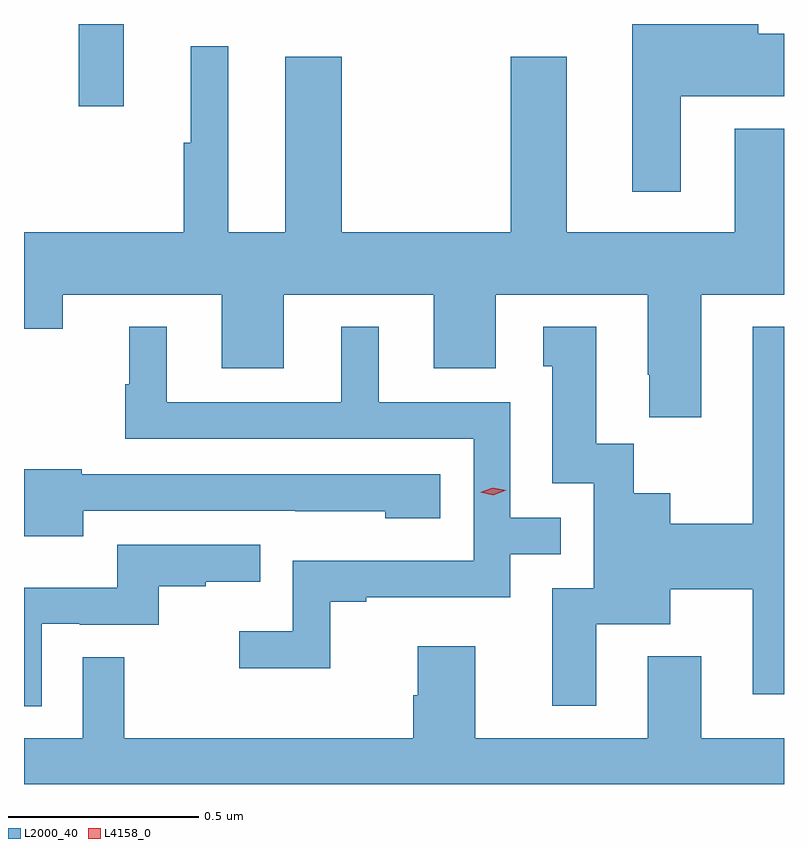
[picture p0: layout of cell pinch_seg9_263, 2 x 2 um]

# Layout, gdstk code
import gdstk
lib = gdstk.Library(unit=1e-6, precision=1e-09)
def R(c, l, rs):  # rectangles x0, y0, x1, y1
    for r in rs: c.add(gdstk.rectangle(r[:2], r[2:], *l))
def P(c, l, *ps):  # polygons
    for p in ps: c.add(gdstk.Polygon(p, *l))
L2000_40 = (2000, 40)
L4158_0 = (4158, 0)

pinch_seg9_263 = lib.new_cell('pinch_seg9_263')
R(pinch_seg9_263, L2000_40, [(453.655,1212.9,453.773,1213.116)])
P(pinch_seg9_263, L2000_40, [(455.239,1212.926),(455.511,1212.926),(455.511,1213.09),(455.443,1213.09),(455.443,1213.116),(455.111,1213.116),(455.111,1212.675),(455.239,1212.675)],
  [(454.048,1213.057),(453.95,1213.057),(453.95,1212.804),(453.931,1212.804),(453.931,1212.568),(453.511,1212.568),(453.511,1212.314),(453.613,1212.314),(453.613,1212.404),(454.031,1212.404),(454.031,1212.21),(454.195,1212.21),(454.195,1212.404),(454.589,1212.404),(454.589,1212.21),(454.753,1212.21),(454.753,1212.404),(455.153,1212.404),(455.153,1212.193),(455.156,1212.193),(455.156,1212.081),(455.293,1212.081),(455.293,1212.404),(455.511,1212.404),(455.511,1212.841),(455.381,1212.841),(455.381,1212.568),(454.939,1212.568),(454.939,1213.03),(454.792,1213.03),(454.792,1212.568),(454.347,1212.568),(454.347,1213.03),(454.199,1213.03),(454.199,1212.568),(454.048,1212.568)],
  [(454.317,1211.595),(454.411,1211.595),(454.411,1211.607),(454.791,1211.607),(454.791,1211.721),(454.924,1211.721),(454.924,1211.817),(454.791,1211.817),(454.791,1212.12),(454.444,1212.12),(454.444,1212.319),(454.346,1212.319),(454.346,1212.12),(453.886,1212.12),(453.886,1212.319),(453.788,1212.319),(453.788,1212.168),(453.777,1212.168),(453.777,1212.024),(454.695,1212.024),(454.695,1211.703),(454.218,1211.703),(454.218,1211.518),(454.077,1211.518),(454.077,1211.42),(454.317,1211.42)],
  [(455.017,1211.537),(455.212,1211.537),(455.212,1211.629),(455.429,1211.629),(455.429,1211.352),(455.511,1211.352),(455.511,1212.319),(455.429,1212.319),(455.429,1211.801),(455.212,1211.801),(455.212,1211.881),(455.115,1211.881),(455.115,1212.011),(455.017,1212.011),(455.017,1212.319),(454.877,1212.319),(454.877,1212.216),(454.901,1212.216),(454.901,1211.907),(455.01,1211.907),(455.01,1211.631),(454.901,1211.631),(454.901,1211.322),(455.017,1211.322)],
  [(453.667,1211.835),(454.225,1211.835),(454.225,1211.834),(454.461,1211.834),(454.461,1211.816),(454.606,1211.816),(454.606,1211.931),(453.663,1211.931),(453.663,1211.944),(453.511,1211.944),(453.511,1211.768),(453.667,1211.768)],
  [(453.558,1211.538),(453.658,1211.538),(453.658,1211.535),(453.866,1211.535),(453.866,1211.637),(453.989,1211.637),(453.989,1211.648),(454.133,1211.648),(454.133,1211.745),(453.756,1211.745),(453.756,1211.633),(453.511,1211.633),(453.511,1211.321),(453.558,1211.321)],
  [(455.511,1211.236),(455.293,1211.236),(455.293,1211.452),(455.153,1211.452),(455.153,1211.236),(454.699,1211.236),(454.699,1211.479),(454.547,1211.479),(454.547,1211.349),(454.535,1211.349),(454.535,1211.236),(453.775,1211.236),(453.775,1211.45),(453.666,1211.45),(453.666,1211.236),(453.511,1211.236),(453.511,1211.116),(455.511,1211.116)])
P(pinch_seg9_263, L4158_0, [(454.746,1211.876),(454.711,1211.884),(454.711,1211.884),(454.711,1211.884),(454.744,1211.896),(454.78,1211.889),(454.78,1211.889),(454.78,1211.889)])

lib.write_gds('pinch_seg9_263.gds')
